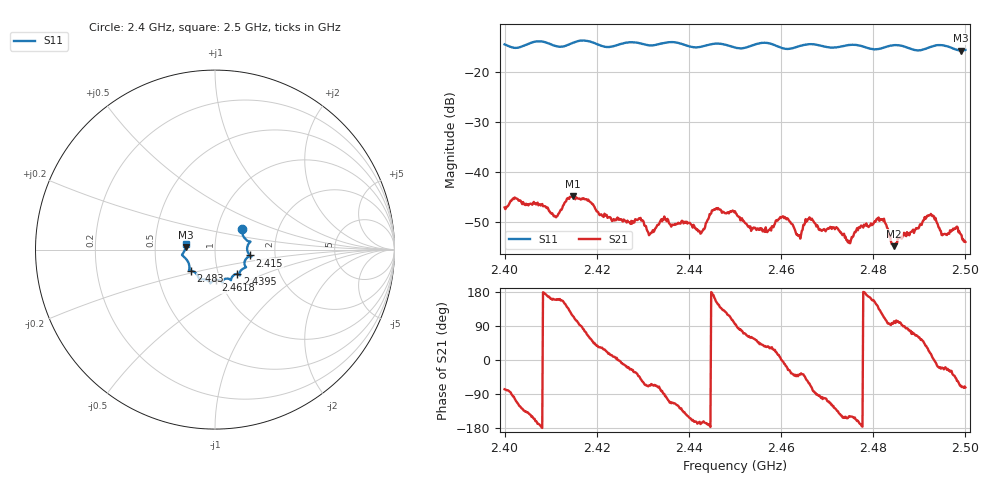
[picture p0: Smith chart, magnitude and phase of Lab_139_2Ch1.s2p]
# Hz S RI R 50
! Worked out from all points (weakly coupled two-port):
!   601 points, 2.4 GHz to 2.5 GHz, reference 50 ohm
!   highest |S21| = -44.83 dB at 2.4148 GHz (marker M1); lowest = -54.8 dB at 2.4845 GHz (marker M2)
!   lowest |S11| = -15.7 dB at 2.499 GHz (marker M3), VSWR 1.39, Z = 35.9 + j1.12 ohm
!   |S11| at or under -10 dB: start of sweep to end of sweep
!   S12 and S22 are empty: the file has one direction only
!   S11 on the Smith chart (normalised r, x): 2.4 GHz: 1.31, +0.31; 2.415 GHz: 1.48, -0.10; 2.4395 GHz: 1.23, -0.35; 2.4618 GHz: 0.95, -0.33; 2.483 GHz: 0.74, -0.18; 2.5 GHz: 0.72, +0.05
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2.4e9  0.1509 0.114  0.000985 -0.00432  0 0  0 0
2.411167e9  0.1806 0.0175  -0.00331 0.00122  0 0  0 0
2.414833e9  0.1935 -0.0311  -0.00249 0.00517  0 0  0 0
2.415e9  0.1948 -0.0325  -0.00227 0.00517  0 0  0 0
2.416667e9  0.203 -0.0384  9.62e-05 0.00534  0 0  0 0
2.433333e9  0.137 -0.1309  0.000903 -0.00282  0 0  0 0
2.4395e9  0.1248 -0.1353  -0.00261 -0.00184  0 0  0 0
2.4425e9  0.097 -0.1498  -0.00238 -0.000462  0 0  0 0
2.4455e9  0.0888 -0.17  -0.0041 0.0011  0 0  0 0
2.45e9  0.0689 -0.1619  -0.000309 0.00404  0 0  0 0
2.4565e9  0.0435 -0.1914  0.00201 0.00152  0 0  0 0
2.461833e9  0.00408 -0.1708  0.00286 -0.00147  0 0  0 0
2.463833e9  -0.019 -0.1799  0.00177 -0.00146  0 0  0 0
2.466667e9  -0.0258 -0.1884  0.000986 -0.00328  0 0  0 0
2.474667e9  -0.0836 -0.1666  -0.00177 -0.00104  0 0  0 0
2.480667e9  -0.1121 -0.1262  -0.0028 0.00184  0 0  0 0
2.483e9  -0.1356 -0.1181  -0.000479 0.00274  0 0  0 0
2.483333e9  -0.1383 -0.1179  -0.000298 0.0025  0 0  0 0
2.4845e9  -0.1439 -0.1175  -0.000382 0.00177  0 0  0 0
2.492167e9  -0.1718 -0.0412  0.00342 0.00139  0 0  0 0
2.499e9  -0.1635 0.0152  0.000908 -0.0022  0 0  0 0
2.5e9  -0.1631 0.0331  0.000603 -0.00191  0 0  0 0
